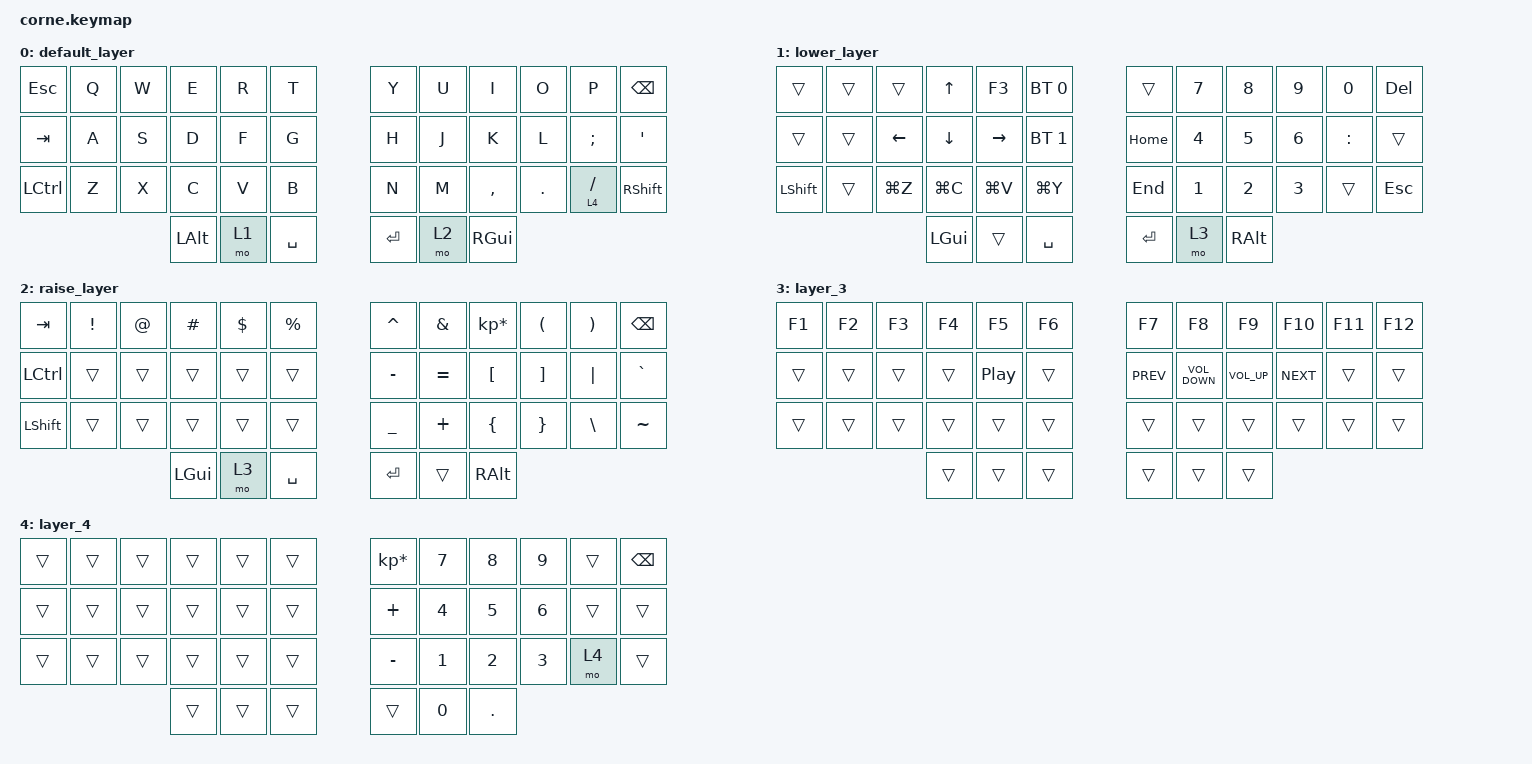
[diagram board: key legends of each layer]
/*
 * Copyright (c) 2020 The ZMK Contributors
 *
 * SPDX-License-Identifier: MIT
 */

#include <behaviors.dtsi>
#include <dt-bindings/zmk/bt.h>
#include <dt-bindings/zmk/keys.h>

/ {
    keymap {
        compatible = "zmk,keymap";

        default_layer {
            // -----------------------------------------------------------------------------------------
            // |  TAB |  Q  |  W  |  E  |  R  |  T  |   |  Y  |  U   |  I  |  O  |  P  | BKSP |
            // | CTRL |  A  |  S  |  D  |  F  |  G  |   |  H  |  J   |  K  |  L  |  ;  |  '   |
            // | SHFT |  Z  |  X  |  C  |  V  |  B  |   |  N  |  M   |  ,  |  .  |  /  | SHFT |
            //                    | GUI | LWR | SPC |   | ENT | RSE  | ALT |

            bindings = <
&kp ESCAPE  &kp Q  &kp W  &kp E     &kp R  &kp T        &kp Y    &kp U  &kp I          &kp O    &kp P        &kp BSPC
&kp TAB     &kp A  &kp S  &kp D     &kp F  &kp G        &kp H    &kp J  &kp K          &kp L    &kp SEMI     &kp SQT
&kp LCTRL   &kp Z  &kp X  &kp C     &kp V  &kp B        &kp N    &kp M  &kp COMMA      &kp DOT  &lt 4 SLASH  &kp RSHFT
                          &kp LALT  &mo 1  &kp SPACE    &kp RET  &mo 2  &kp RIGHT_GUI
            >;
        };

        lower_layer {
            // -----------------------------------------------------------------------------------------
            // |  TAB |  1  |  2  |  3  |  4  |  5  |   |  6  |  7  |  8  |  9  |  0  | BKSP |
            // | BTCLR| BT1 | BT2 | BT3 | BT4 | BT5 |   | LFT | DWN |  UP | RGT |     |      |
            // | SHFT |     |     |     |     |     |   |     |     |     |     |     | ESC  |
            //                    | GUI |     | SPC |   | ENT |     | ALT |

            bindings = <
&trans     &trans  &trans     &kp UP_ARROW  &kp F3     &bt BT_SEL 0    &trans    &kp N7        &kp N8        &kp N9        &kp N0     &kp DELETE
&trans     &trans  &kp LEFT   &kp DOWN      &kp RIGHT  &bt BT_SEL 1    &kp HOME  &kp NUMBER_4  &kp NUMBER_5  &kp NUMBER_6  &kp COLON  &trans
&kp LSHFT  &trans  &kp LG(Z)  &kp LG(C)     &kp LG(V)  &kp LG(Y)       &kp END   &kp NUMBER_1  &kp NUMBER_2  &kp NUMBER_3  &trans     &kp ESC
                              &kp LGUI      &trans     &kp SPACE       &kp RET   &mo 3         &kp RALT
            >;
        };

        raise_layer {
            // -----------------------------------------------------------------------------------------
            // |  TAB |  !  |  @  |  #  |  $  |  %  |   |  ^  |  &  |  *  |  (  |  )  | BKSP |
            // | CTRL |     |     |     |     |     |   |  -  |  =  |  [  |  ]  |  \  |  `   |
            // | SHFT |     |     |     |     |     |   |  _  |  +  |  {  |  }  | "|" |  ~   |
            //                    | GUI |     | SPC |   | ENT |     | ALT |

            bindings = <
&kp TAB    &kp EXCL  &kp AT  &kp HASH  &kp DLLR  &kp PRCNT    &kp CARET  &kp AMPS   &kp KP_MULTIPLY  &kp LPAR  &kp RPAR       &kp BSPC
&kp LCTRL  &trans    &trans  &trans    &trans    &trans       &kp MINUS  &kp EQUAL  &kp LBKT         &kp RBKT  &kp PIPE       &kp GRAVE
&kp LSHFT  &trans    &trans  &trans    &trans    &trans       &kp UNDER  &kp PLUS   &kp LBRC         &kp RBRC  &kp BACKSLASH  &kp TILDE
                             &kp LGUI  &mo 3     &kp SPACE    &kp RET    &trans     &kp RALT
            >;
        };

        layer_3 {
            bindings = <
&kp F1  &kp F2  &kp F3  &kp F4  &kp F5            &kp F6    &kp F7      &kp F8             &kp F9           &kp F10     &kp F11  &kp F12
&trans  &trans  &trans  &trans  &kp C_PLAY_PAUSE  &trans    &kp C_PREV  &kp C_VOLUME_DOWN  &kp C_VOLUME_UP  &kp C_NEXT  &trans   &trans
&trans  &trans  &trans  &trans  &trans            &trans    &trans      &trans             &trans           &trans      &trans   &trans
                        &trans  &trans            &trans    &trans      &trans             &trans
            >;
        };

        layer_4 {
            bindings = <
&trans  &trans  &trans  &trans  &trans  &trans    &kp KP_MULTIPLY  &kp N7  &kp N8      &kp N9  &trans  &kp BSPC
&trans  &trans  &trans  &trans  &trans  &trans    &kp PLUS         &kp N4  &kp N5      &kp N6  &trans  &trans
&trans  &trans  &trans  &trans  &trans  &trans    &kp MINUS        &kp N1  &kp N2      &kp N3  &mo 4   &trans
                        &trans  &trans  &trans    &trans           &kp N0  &kp PERIOD
            >;
        };
    };
};
